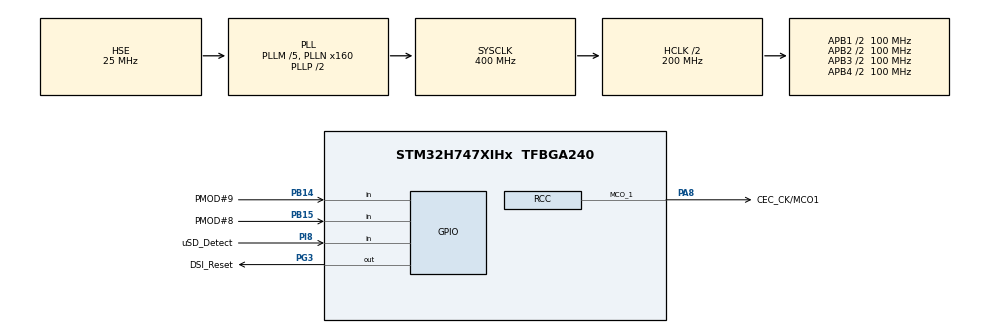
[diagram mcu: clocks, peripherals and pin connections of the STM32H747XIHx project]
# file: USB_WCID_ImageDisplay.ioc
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CortexM4.IPs=BDMA,DMA,FATFS_M4\:I,FREERTOS_M4\:I,IWDG2\:I,MDMA,NVIC2\:I,RCC,USB_DEVICE_M4\:I,USB_HOST_M4\:I,WWDG2\:I,TIM3\:I,DEBUG,PDM2PCM_M4\:I,PWR,RESMGR_UTILITY,SYS_M4\:I,CORTEX_M4\:I,OPENAMP_M4\:I,VREFBUF
CortexM7.IPs=BDMA\:I,DMA\:I,FATFS_M7\:I,FREERTOS_M7\:I,IWDG1\:I,MDMA\:I,NVIC1\:I,RCC\:I,USB_DEVICE_M7\:I,USB_HOST_M7\:I,WWDG1\:I,CORTEX_M7\:I,DEBUG\:I,PDM2PCM_M7\:I,PWR\:I,RESMGR_UTILITY\:I,SYS\:I,OPENAMP_M7\:I,VREFBUF\:I,FMC\:I
Mcu.Family=STM32H7
Mcu.Name=STM32H747XIHx
Mcu.Package=TFBGA240
Mcu.UserConstants=LCD_FRAME_BUFFER,0xD0000000
NVIC1.PriorityGroup=NVIC_PRIORITYGROUP_4
NVIC2.PriorityGroup=NVIC_PRIORITYGROUP_4
PA0_C.GPIO_Label=ARD_A2
PA0_C.PinAttribute=CortexM4
PA0_C.Signal=ADCx_INP0
PA1.PinAttribute=CortexM7
PA1.Signal=LTDC_R2
PA10.PinAttribute=CortexM7
PA10.Signal=USB_OTG_FS_ID
PA11.PinAttribute=CortexM7
PA11.Signal=USB_OTG_FS_DM
PA12.PinAttribute=CortexM7
PA12.Signal=USB_OTG_FS_DP
PA1_C.GPIO_Label=ARD_A3
PA1_C.PinAttribute=CortexM4
PA1_C.Signal=ADCx_INP1
PA3.GPIO_Label=ULPI_D0
PA3.PinAttribute=CortexM7
PA3.Signal=USB_OTG_HS_ULPI_D0
PA5.GPIO_Label=ULPI_CK
PA5.PinAttribute=CortexM7
PA5.Signal=USB_OTG_HS_ULPI_CK
PA7.GPIO_Label=ETH_CRS_DV
PA7.Signal=ETH_CRS_DV
PA8.GPIO_Label=CEC_CK/MCO1
PA8.Mode=Clock-out-1
PA8.PinAttribute=CortexM7
PA8.Signal=RCC_MCO_1
PB0.GPIO_Label=ULPI_D1
PB0.PinAttribute=CortexM7
PB0.Signal=USB_OTG_HS_ULPI_D1
PB1.GPIO_Label=ULPI_D2
PB1.PinAttribute=CortexM7
PB1.Signal=USB_OTG_HS_ULPI_D2
PB10.GPIO_Label=ULPI_D3
PB10.PinAttribute=CortexM7
PB10.Signal=USB_OTG_HS_ULPI_D3
PB11.GPIO_Label=ULPI_D4
PB11.PinAttribute=CortexM7
PB11.Signal=USB_OTG_HS_ULPI_D4
PB12.GPIO_Label=ULPI_D5
PB12.PinAttribute=CortexM7
PB12.Signal=USB_OTG_HS_ULPI_D5
PB13.GPIO_Label=ULPI_D6
PB13.PinAttribute=CortexM7
PB13.Signal=USB_OTG_HS_ULPI_D6
PB14.GPIO_Label=PMOD\#9
PB14.PinAttribute=Free
PB14.Signal=GPIO_Input
PB15.GPIO_Label=PMOD\#8
PB15.PinAttribute=Free
PB15.Signal=GPIO_Input
PB2.GPIO_Label=QSPI_CLK
PB2.Signal=QUADSPI_CLK
PB5.GPIO_Label=ULPI_D7
PB5.PinAttribute=CortexM7
PB5.Signal=USB_OTG_HS_ULPI_D7
PB6.GPIO_Label=HDMI_CEC
PB6.Signal=CEC
PC0.GPIO_Label=ULPI_STP
PC0.PinAttribute=CortexM7
PC0.Signal=USB_OTG_HS_ULPI_STP
PC1.GPIO_Label=ETH_MDC/SAI4_D1
PC1.Signal=ETH_MDC
PC10.GPIO_Label=SDIO1_D2
PC10.Signal=SDMMC1_D2
PC12.GPIO_Label=SDIO1_CK
PC12.Signal=SDMMC1_CK
PC13.GPIO_Label=B2 [Wakeup Button]
PC13.Signal=RTC_TAMP1
PC14-OSC32_IN\ (OSC32_IN).GPIO_Label=OSC32_IN
PC14-OSC32_IN\ (OSC32_IN).PinAttribute=CortexM7
PC14-OSC32_IN\ (OSC32_IN).Signal=RCC_OSC32_IN
PC15-OSC32_OUT\ (OSC32_OUT).GPIO_Label=OSC32_OUT
PC15-OSC32_OUT\ (OSC32_OUT).PinAttribute=CortexM7
PC15-OSC32_OUT\ (OSC32_OUT).Signal=RCC_OSC32_OUT
PC2.GPIO_Label=PMOD\#3
PC2.Signal=SPI2_MISO
PC2_C.GPIO_Label=ARD_A4
PC2_C.Signal=ADC3_INP0
PC3.GPIO_Label=PMOD\#2
PC3.Signal=SPI2_MOSI
PC3_C.GPIO_Label=ARD_A5
PC3_C.Signal=ADC3_INP1
PC4.GPIO_Label=ETH_RXD0
PC4.Signal=ETH_RXD0
PC5.GPIO_Label=ETH_RXD1
PC5.Signal=ETH_RXD1
PC8.GPIO_Label=SDIO1_D0
PC8.Signal=SDMMC1_D0
PD0.GPIO_Label=FMC_D2
PD0.PinAttribute=CortexM7
PD0.Signal=FMC_D2_DA2
PD1.GPIO_Label=FMC_D3
PD1.PinAttribute=CortexM7
PD1.Signal=FMC_D3_DA3
PD10.GPIO_Label=FMC_D15
PD10.PinAttribute=CortexM7
PD10.Signal=FMC_D15_DA15
PD11.GPIO_Label=QSPI_BK1_IO0
PD11.Signal=QUADSPI_BK1_IO0
PD14.GPIO_Label=FMC_D0
PD14.PinAttribute=CortexM7
PD14.Signal=FMC_D0_DA0
PD15.GPIO_Label=FMC_D1
PD15.PinAttribute=CortexM7
PD15.Signal=FMC_D1_DA1
PD2.GPIO_Label=SDIO1_CMD
PD2.Signal=SDMMC1_CMD
PD7.GPIO_Label=SPDIF_RX0
PD7.Signal=SPDIFRX1_IN0
PD8.GPIO_Label=FMC_D13
PD8.PinAttribute=CortexM7
PD8.Signal=FMC_D13_DA13
PD9.GPIO_Label=FMC_D14
PD9.PinAttribute=CortexM7
PD9.Signal=FMC_D14_DA14
PE0.GPIO_Label=FMC_NBL0
PE0.PinAttribute=CortexM7
PE0.Signal=FMC_NBL0
PE1.GPIO_Label=FMC_NBL1
PE1.PinAttribute=CortexM7
PE1.Signal=FMC_NBL1
PE10.GPIO_Label=FMC_D7
PE10.PinAttribute=CortexM7
PE10.Signal=FMC_D7_DA7
PE11.PinAttribute=CortexM7
PE11.Signal=LTDC_G3
PE13.GPIO_Label=FMC_D10
PE13.PinAttribute=CortexM7
PE13.Signal=FMC_D10_DA10
PE14.GPIO_Label=FMC_D11
PE14.PinAttribute=CortexM7
PE14.Signal=FMC_D11_DA11
PE15.GPIO_Label=FMC_D12
PE15.PinAttribute=CortexM7
PE15.Signal=FMC_D12_DA12
PE3.GPIO_Label=SAI1_SD_B
PE3.Signal=SAI1_SD_B
PE4.GPIO_Label=SAI1_FS_A
PE4.Signal=SAI1_FS_A
PE5.GPIO_Label=SAI1_SCK_A
PE5.Signal=SAI1_SCK_A
PE6.PinAttribute=CortexM7
PE6.Signal=LTDC_G1
PE7.GPIO_Label=FMC_D4
PE7.PinAttribute=CortexM7
PE7.Signal=FMC_D4_DA4
PE8.GPIO_Label=FMC_D5
PE8.PinAttribute=CortexM7
PE8.Signal=FMC_D5_DA5
PE9.GPIO_Label=FMC_D6
PE9.PinAttribute=CortexM7
PE9.Signal=FMC_D6_DA6
PF0.GPIO_Label=FMC_A0
PF0.PinAttribute=CortexM7
PF0.Signal=FMC_A0
PF1.GPIO_Label=FMC_A1
PF1.PinAttribute=CortexM7
PF1.Signal=FMC_A1
PF10.PinAttribute=CortexM7
PF10.Signal=LTDC_DE
PF11.GPIO_Label=FMC_SDRAS
PF11.PinAttribute=CortexM7
PF11.Signal=FMC_SDNRAS
PF12.GPIO_Label=FMC_A6
PF12.PinAttribute=CortexM7
PF12.Signal=FMC_A6
PF13.GPIO_Label=FMC_A7
PF13.PinAttribute=CortexM7
PF13.Signal=FMC_A7
PF14.GPIO_Label=FMC_A8
PF14.PinAttribute=CortexM7
PF14.Signal=FMC_A8
PF15.GPIO_Label=FMC_A9
PF15.PinAttribute=CortexM7
PF15.Signal=FMC_A9
PF2.GPIO_Label=FMC_A2
PF2.PinAttribute=CortexM7
PF2.Signal=FMC_A2
PF3.GPIO_Label=FMC_A3
PF3.PinAttribute=CortexM7
PF3.Signal=FMC_A3
PF4.GPIO_Label=FMC_A4
PF4.PinAttribute=CortexM7
PF4.Signal=FMC_A4
PF5.GPIO_Label=FMC_A5
PF5.PinAttribute=CortexM7
PF5.Signal=FMC_A5
PF6.GPIO_Label=QSPI_BK1_IO3
PF6.Signal=QUADSPI_BK1_IO3
PF7.GPIO_Label=QSPI_BK1_IO2
PF7.Signal=QUADSPI_BK1_IO2
PF8.GPIO_Label=PMOD\#14/ARD_D3
PF8.Signal=S_TIM13_CH1
PF9.GPIO_Label=QSPI_BK1_IO1
PF9.Signal=QUADSPI_BK1_IO1
PG0.GPIO_Label=FMC_A10
PG0.PinAttribute=CortexM7
PG0.Signal=FMC_A10
PG1.GPIO_Label=FMC_A11
PG1.PinAttribute=CortexM7
PG1.Signal=FMC_A11
PG11.GPIO_Label=ETH_TX_EN
PG11.Signal=ETH_TX_EN
PG12.GPIO_Label=ETH_TXD1
PG12.Signal=ETH_TXD1
PG13.GPIO_Label=ETH_TXD0
PG13.Signal=ETH_TXD0
PG14.GPIO_Label=QSPI_BK2_IO3
PG14.Signal=QUADSPI_BK2_IO3
PG15.GPIO_Label=FMC_SDCAS
PG15.PinAttribute=CortexM7
PG15.Signal=FMC_SDNCAS
PG2.GPIO_Label=FMC_A12
PG2.PinAttribute=CortexM7
PG2.Signal=FMC_A12
PG3.GPIO_Label=DSI_Reset
PG3.PinAttribute=Free
PG3.Signal=GPIO_Output
PG4.GPIO_Label=FMC_BA0
PG4.PinAttribute=CortexM7
PG4.Signal=FMC_A14_BA0
PG7.GPIO_Label=SAI1_MCLK_A
PG7.Signal=SAI1_MCLK_A
PG8.GPIO_Label=FMC_SDCLK
PG8.PinAttribute=CortexM7
PG8.Signal=FMC_SDCLK
PG9.GPIO_Label=QSPI_BK2_IO2
PG9.Signal=QUADSPI_BK2_IO2
PH0-OSC_IN\ (PH0).GPIO_Label=OSC_IN
PH0-OSC_IN\ (PH0).Mode=HSE-External-Oscillator
PH0-OSC_IN\ (PH0).PinAttribute=CortexM7
PH0-OSC_IN\ (PH0).Signal=RCC_OSC_IN
PH1-OSC_OUT\ (PH1).GPIO_Label=OSC_OUT
PH1-OSC_OUT\ (PH1).Mode=HSE-External-Oscillator
PH1-OSC_OUT\ (PH1).PinAttribute=CortexM7
PH1-OSC_OUT\ (PH1).Signal=RCC_OSC_OUT
PH10.GPIO_Label=FMC_D18
PH10.PinAttribute=CortexM7
PH10.Signal=FMC_D18
PH11.Signal=I2C4_SCL
PH13.GPIO_Label=FMC_D21
PH13.PinAttribute=CortexM7
PH13.Signal=FMC_D21
PH14.GPIO_Label=FMC_D22
PH14.PinAttribute=CortexM7
PH14.Signal=FMC_D22
PH15.PinAttribute=CortexM7
PH15.Signal=LTDC_G4
PH2.PinAttribute=CortexM7
PH2.Signal=LTDC_R0
PH3.PinAttribute=CortexM7
PH3.Signal=LTDC_R1
PH4.GPIO_Label=ULPI_NXT
PH4.PinAttribute=CortexM7
PH4.Signal=USB_OTG_HS_ULPI_NXT
PH5.GPIO_Label=FMC_SDNWE
PH5.PinAttribute=CortexM7
PH5.Signal=FMC_SDNWE
PH6.GPIO_Label=FMC_SDNE1
PH6.PinAttribute=CortexM7
PH6.Signal=FMC_SDNE1
PH7.GPIO_Label=FMC_SDCKE1
PH7.PinAttribute=CortexM7
PH7.Signal=FMC_SDCKE1
PH8.GPIO_Label=FMC_D16
PH8.PinAttribute=CortexM7
PH8.Signal=FMC_D16
PH9.GPIO_Label=FMC_D17
PH9.PinAttribute=CortexM7
PH9.Signal=FMC_D17
PI0.GPIO_Label=FMC_D24
PI0.PinAttribute=CortexM7
PI0.Signal=FMC_D24
PI1.GPIO_Label=FMC_D25
PI1.PinAttribute=CortexM7
PI1.Signal=FMC_D25
PI10.PinAttribute=CortexM7
PI10.Signal=LTDC_HSYNC
PI11.GPIO_Label=ULPI_DIR
PI11.PinAttribute=CortexM7
PI11.Signal=USB_OTG_HS_ULPI_DIR
PI13.PinAttribute=CortexM7
PI13.Signal=LTDC_VSYNC
PI14.PinAttribute=CortexM7
PI14.Signal=LTDC_CLK
PI2.PinAttribute=CortexM7
PI2.Signal=LTDC_G7
PI3.GPIO_Label=FMC_D27
PI3.PinAttribute=CortexM7
PI3.Signal=FMC_D27
PI4.GPIO_Label=FMC_NBL2
PI4.PinAttribute=CortexM7
PI4.Signal=FMC_NBL2
PI5.GPIO_Label=FMC_NBL3
PI5.PinAttribute=CortexM7
PI5.Signal=FMC_NBL3
PI6.GPIO_Label=FMC_D28
PI6.PinAttribute=CortexM7
PI6.Signal=FMC_D28
PI7.PinAttribute=CortexM7
PI7.Signal=LTDC_B7
PI8.GPIO_Label=uSD_Detect
PI8.PinAttribute=Free
PI8.Signal=GPIO_Input
PI9.GPIO_Label=FMC_D30
PI9.PinAttribute=CortexM7
PI9.Signal=FMC_D30
PJ10.GPIO_Label=ARD_D11
PJ10.Signal=SPI5_MOSI
PJ13.PinAttribute=CortexM7
PJ13.Signal=LTDC_B4
PJ15.PinAttribute=CortexM7
PJ15.Signal=LTDC_B3
PJ3.PinAttribute=CortexM7
PJ3.Signal=LTDC_R4
PJ5.PinAttribute=CortexM7
PJ5.Signal=LTDC_R6
PJ6.PinAttribute=CortexM7
PJ6.Signal=LTDC_R7
PJ7.PinAttribute=CortexM7
PJ7.Signal=LTDC_G0
PJ8.GPIO_Label=ARD_D1
PJ8.Signal=UART8_TX
PJ9.PinAttribute=CortexM7
PJ9.Signal=LTDC_G2
PK0.PinAttribute=CortexM7
PK0.Signal=LTDC_G5
PK1.GPIO_Label=ARD_D10
PK1.Signal=SPI5_NSS
PK4.PinAttribute=CortexM7
PK4.Signal=LTDC_B5
PK5.PinAttribute=CortexM7
PK5.Signal=LTDC_B6
ProjectManager.HeapSize=0x8000
ProjectManager.StackSize=0x400
ProjectManager.TargetToolchain=STM32CubeIDE
RCC.ADCFreq_Value=154687500
RCC.APB1Freq_Value=100000000
RCC.APB2Freq_Value=100000000
RCC.APB3Freq_Value=100000000
RCC.APB4Freq_Value=100000000
RCC.CortexFreq_Value=400000000
RCC.D1PPRE=RCC_APB3_DIV2
RCC.D2PPRE1=RCC_APB1_DIV2
RCC.D2PPRE2=RCC_APB2_DIV2
RCC.D3PPRE=RCC_APB4_DIV2
RCC.DIVM1=5
RCC.DIVM2=2
RCC.DIVN1=160
RCC.DIVN2=12
RCC.DIVP2=1
RCC.DIVQ1=4
RCC.DSITX_Div=2
RCC.HCLKFreq_Value=200000000
RCC.HPRE=RCC_HCLK_DIV2
RCC.PLL2FRACN=3072
RCC.PLL3FRACN=0
RCC.PLLDSINDIV=10
RCC.PLLFRACN=0
RCC.PLLSourceVirtual=RCC_PLLSOURCE_HSE
RCC.PWR_Regulator_Voltage_Scale=PWR_REGULATOR_VOLTAGE_SCALE0
RCC.SYSCLKFreq_VALUE=400000000
RCC.SYSCLKSource=RCC_SYSCLKSOURCE_PLLCLK
RCC.SupplySource=PWR_DIRECT_SMPS_SUPPLY
RCC.USBFreq_Value=200000000
SH.ADCx_INP0.0=ADC1_INP0
SH.ADCx_INP1.0=ADC1_INP1
SH.FMC_A0.0=FMC_A0
SH.FMC_A1.0=FMC_A1
SH.FMC_A10.0=FMC_A10
SH.FMC_A11.0=FMC_A11
SH.FMC_A12.0=FMC_A12
SH.FMC_A14_BA0.0=FMC_BA0
SH.FMC_A2.0=FMC_A2
SH.FMC_A3.0=FMC_A3
SH.FMC_A4.0=FMC_A4
SH.FMC_A5.0=FMC_A5
SH.FMC_A6.0=FMC_A6
SH.FMC_A7.0=FMC_A7
SH.FMC_A8.0=FMC_A8
SH.FMC_A9.0=FMC_A9
SH.FMC_D0_DA0.0=FMC_D0
SH.FMC_D10_DA10.0=FMC_D10
SH.FMC_D11_DA11.0=FMC_D11
SH.FMC_D12_DA12.0=FMC_D12
SH.FMC_D13_DA13.0=FMC_D13
SH.FMC_D14_DA14.0=FMC_D14
SH.FMC_D15_DA15.0=FMC_D15
SH.FMC_D16.0=FMC_D16
SH.FMC_D17.0=FMC_D17
SH.FMC_D18.0=FMC_D18
SH.FMC_D1_DA1.0=FMC_D1
SH.FMC_D21.0=FMC_D21
SH.FMC_D22.0=FMC_D22
SH.FMC_D24.0=FMC_D24
SH.FMC_D25.0=FMC_D25
SH.FMC_D27.0=FMC_D27
SH.FMC_D28.0=FMC_D28
SH.FMC_D2_DA2.0=FMC_D2
SH.FMC_D30.0=FMC_D30
SH.FMC_D3_DA3.0=FMC_D3
SH.FMC_D4_DA4.0=FMC_D4
SH.FMC_D5_DA5.0=FMC_D5
SH.FMC_D6_DA6.0=FMC_D6
SH.FMC_D7_DA7.0=FMC_D7
SH.FMC_NBL0.0=FMC_NBL0
SH.FMC_NBL1.0=FMC_NBL1
SH.FMC_NBL2.0=FMC_NBL2
SH.FMC_NBL3.0=FMC_NBL3
SH.FMC_SDCLK.0=FMC_SDCLK
SH.FMC_SDNCAS.0=FMC_SDNCAS
SH.FMC_SDNRAS.0=FMC_SDNRAS
SH.FMC_SDNWE.0=FMC_SDNWE
SH.S_TIM13_CH1.0=TIM13_CH1
VP_SYS_M4_VS_Systick.Mode=SysTick
board=STM32H747I-DISCO

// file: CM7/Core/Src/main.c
/* USER CODE BEGIN Header */
/**
  ******************************************************************************
  * @file           : main.c
  * @brief          : Main program body
  ******************************************************************************
  * @attention
  *
  * Copyright (c) 2020-2021 STMicroelectronics.
  * All rights reserved.
  * This software is licensed under terms that can be found in the LICENSE file in
  * the root directory of this software component.
  * If no LICENSE file comes with this software, it is provided AS-IS.
  *
  ******************************************************************************
  */

/* USER CODE END Header */
#include "main.h"

/* USER CODE BEGIN Includes */
#include "ai_logging.h"
#include "usbd_wcid_interface.h"
#include "usbd_desc.h"

#include "stm32h747i_discovery.h"
#include "stm32h747i_discovery_lcd.h"
#include "stm32h747i_discovery_sdram.h"
#include "stm32h747i_discovery_bus.h"

#include "stm32_lcd.h"
/* USER CODE END Includes */

/* USER CODE BEGIN PD */

#define VSYNC               1
#define VBP                 1
#define VFP                 1
#define VACT                480
#define HSYNC               1
#define HBP                 1
#define HFP                 1
#define HACT                800

#define LAYER0_ADDRESS               (LCD_FB_START_ADDRESS)
#define SEND_BUFFER_SIZE 64
#define RECEPTION_BUFFER_SIZE 90000
/* USER CODE END PD */

/* USER CODE BEGIN PV */
static int32_t pending_buffer = -1;
static DMA2D_HandleTypeDef   hdma2d;
static RCC_PeriphCLKInitTypeDef  PeriphClkInitStruct;
DSI_PLLInitTypeDef dsiPllInit;
DSI_CmdCfgTypeDef CmdCfg;
DSI_LPCmdTypeDef LPCmd;

static uint8_t send_buffer[SEND_BUFFER_SIZE];
static uint8_t reception_buffer[RECEPTION_BUFFER_SIZE];
extern volatile uint8_t usb_connected;
extern volatile uint8_t streaming_started;
//USBD_HandleTypeDef USBD_Device; //// NOT COPIED YET (MUST BE CUBEMX GENERATED)
USBD_HandleTypeDef hUsbDeviceHS;

ai_logging_device_t device;
/* USER CODE END PV */

void SystemClock_Config(void);
static void MX_GPIO_Init(void);
/* USER CODE BEGIN PFP */

static void CopyBufferFromRGB888(uint32_t *pSrc,
                           uint32_t *pDst,
                           uint16_t x,
                           uint16_t y,
                           uint16_t xsize,
                           uint16_t ysize,
                           uint8_t rb_swaped);
static uint8_t LCD_Init(void);
void LTDC_Init(void);

static void LCD_LayertInit(uint16_t LayerIndex, uint32_t Address);
static int32_t DSI_IO_Write(uint16_t ChannelNbr, uint16_t Reg, uint8_t *pData, uint16_t Size);
static int32_t DSI_IO_Read(uint16_t ChannelNbr, uint16_t Reg, uint8_t *pData, uint16_t Size);
int32_t LCD_GetXSize(uint32_t Instance, uint32_t *XSize);
int32_t LCD_GetYSize(uint32_t Instance, uint32_t *YSize);
void LCD_MspInit(void);

static void LCD_BriefDisplay(void);

const LCD_UTILS_Drv_t LCD_UTIL_Driver =
{
  BSP_LCD_DrawBitmap,
  BSP_LCD_FillRGBRect,
  BSP_LCD_DrawHLine,
  BSP_LCD_DrawVLine,
  BSP_LCD_FillRect,
  BSP_LCD_ReadPixel,
  BSP_LCD_WritePixel,
  LCD_GetXSize,
  LCD_GetYSize,
  BSP_LCD_SetActiveLayer,
  BSP_LCD_GetPixelFormat
};

/* USER CODE END PFP */

int main(void)
{
  /* USER CODE BEGIN 1 */
  /*
    IF Regenerating Code with CubeMX don't forget to manually enable the modules
    in stm32h7xx_hal_conf.h:

    #define HAL_DSI_MODULE_ENABLED
    #define HAL_PCD_MODULE_ENABLED
    #define HAL_LTDC_MODULE_ENABLED
    #define HAL_SDRAM_MODULE_ENABLED
    #define HAL_DMA2D_MODULE_ENABLED

    AND Copy necessary missing files (if any) if linker errors
  */
  /* USER CODE END 1 */
/* USER CODE BEGIN Boot_Mode_Sequence_0 */
/* USER CODE END Boot_Mode_Sequence_0 */

/* USER CODE BEGIN Boot_Mode_Sequence_1 */
/* USER CODE END Boot_Mode_Sequence_1 */
  /* MCU Configuration--------------------------------------------------------*/

  /* Reset of all peripherals, Initializes the Flash interface and the Systick. */
  HAL_Init();

  /* Configure the system clock */
  SystemClock_Config();
/* USER CODE BEGIN Boot_Mode_Sequence_2 */
/* USER CODE END Boot_Mode_Sequence_2 */

  /* Initialize all configured peripherals */
  MX_GPIO_Init();
  /* USER CODE BEGIN 2 */

  BSP_SDRAM_Init(0);

  HAL_PWREx_EnableUSBVoltageDetector();

  /* Init Device Library for USB WCID */
  USBD_Init(&hUsbDeviceHS, &WCID_STREAMING_Desc, 0);
  /* Add Supported Class */
  USBD_RegisterClass(&hUsbDeviceHS, USBD_WCID_STREAMING_CLASS);
  /* Add CDC Interface Class */
  USBD_WCID_STREAMING_RegisterInterface(&hUsbDeviceHS, &USBD_WCID_STREAMING_fops);
  /* Start Device Process */
  USBD_Start(&hUsbDeviceHS);

  /* Initialize the LCD   */
  if(LCD_Init() != BSP_ERROR_NONE)
  {
    Error_Handler();
  }
  /* Set the LCD Context */
  Lcd_Ctx[0].ActiveLayer = 0;
  Lcd_Ctx[0].PixelFormat = LCD_PIXEL_FORMAT_ARGB8888;
  Lcd_Ctx[0].BppFactor = 4; /* 4 Bytes Per Pixel for ARGB8888 */
  Lcd_Ctx[0].XSize = 800;
  Lcd_Ctx[0].YSize = 480;
  /* Disable DSI Wrapper in order to access and configure the LTDC */
  __HAL_DSI_WRAPPER_DISABLE(&hlcd_dsi);

  /* Initialize LTDC layer 0 iused for Hint */
  LCD_LayertInit(0, LCD_FRAME_BUFFER);
  UTIL_LCD_SetFuncDriver(&LCD_UTIL_Driver);

  /* Enable DSI Wrapper so DSI IP will drive the LTDC */
  __HAL_DSI_WRAPPER_ENABLE(&hlcd_dsi);

  /* Display example brief   */
  LCD_BriefDisplay();

  /*Refresh the LCD display*/
  HAL_DSI_Refresh(&hlcd_dsi);

  ai_logging_init(&device);
  ai_logging_init_send(&device, usb_wcid_send_function, send_buffer, SEND_BUFFER_SIZE);
  ai_logging_init_receive(&device, NULL, 0, reception_buffer, RECEPTION_BUFFER_SIZE);

  /* USER CODE END 2 */

  /* Infinite loop */
  /* USER CODE BEGIN WHILE */

  while(usb_connected < 1);

  ai_logging_packet_t packet;
  ai_logging_clear_packet(&packet);
  int img_received = 0;
  start_streaming();
  char text_to_send[20];
  ai_logging_message message;

  while (1)
  {
    if(streaming_started == 1)
    {
      if(ai_logging_check_for_received_packet(&device, &packet) > 0)
      {
        if(pending_buffer < 0)
        {
          CopyBufferFromRGB888((uint32_t *)packet.payload, (uint32_t *)LCD_FRAME_BUFFER, 0, 160, packet.shape.shapes[0], packet.shape.shapes[1], 0);
          pending_buffer = 0;
          sprintf(text_to_send, "Img received %d", img_received);
          message.buffer = text_to_send;
          message.size = strlen(text_to_send);
          ai_logging_send_message(&device, message);
          /*Refresh the LCD display*/
          HAL_DSI_Refresh(&hlcd_dsi);
        }
        ai_logging_prepare_next_packet(&device);
        img_received++;
      }
    }

    /* USER CODE END WHILE */

  }
}

void SystemClock_Config(void)
{
  RCC_OscInitTypeDef RCC_OscInitStruct = {0};
  RCC_ClkInitTypeDef RCC_ClkInitStruct = {0};

  /** Supply configuration update enable
  */
  HAL_PWREx_ConfigSupply(PWR_DIRECT_SMPS_SUPPLY);
  /** Configure the main internal regulator output voltage
  */
  __HAL_PWR_VOLTAGESCALING_CONFIG(PWR_REGULATOR_VOLTAGE_SCALE0);

  while(!__HAL_PWR_GET_FLAG(PWR_FLAG_VOSRDY)) {}
  /** Initializes the RCC Oscillators according to the specified parameters
  * in the RCC_OscInitTypeDef structure.
  */
  RCC_OscInitStruct.OscillatorType = RCC_OSCILLATORTYPE_HSI|RCC_OSCILLATORTYPE_HSE;
  RCC_OscInitStruct.HSEState = RCC_HSE_ON;
  RCC_OscInitStruct.HSIState = RCC_HSI_DIV1;
  RCC_OscInitStruct.HSICalibrationValue = RCC_HSICALIBRATION_DEFAULT;
  RCC_OscInitStruct.PLL.PLLState = RCC_PLL_ON;
  RCC_OscInitStruct.PLL.PLLSource = RCC_PLLSOURCE_HSE;
  RCC_OscInitStruct.PLL.PLLM = 5;
  RCC_OscInitStruct.PLL.PLLN = 160;
  RCC_OscInitStruct.PLL.PLLP = 2;
  RCC_OscInitStruct.PLL.PLLQ = 4;
  RCC_OscInitStruct.PLL.PLLR = 2;
  RCC_OscInitStruct.PLL.PLLRGE = RCC_PLL1VCIRANGE_2;
  RCC_OscInitStruct.PLL.PLLVCOSEL = RCC_PLL1VCOWIDE;
  RCC_OscInitStruct.PLL.PLLFRACN = 0;
  if (HAL_RCC_OscConfig(&RCC_OscInitStruct) != HAL_OK)
  {
    Error_Handler();
  }
  /** Initializes the CPU, AHB and APB buses clocks
  */
  RCC_ClkInitStruct.ClockType = RCC_CLOCKTYPE_HCLK|RCC_CLOCKTYPE_SYSCLK
                              |RCC_CLOCKTYPE_PCLK1|RCC_CLOCKTYPE_PCLK2
                              |RCC_CLOCKTYPE_D3PCLK1|RCC_CLOCKTYPE_D1PCLK1;
  RCC_ClkInitStruct.SYSCLKSource = RCC_SYSCLKSOURCE_PLLCLK;
  RCC_ClkInitStruct.SYSCLKDivider = RCC_SYSCLK_DIV1;
  RCC_ClkInitStruct.AHBCLKDivider = RCC_HCLK_DIV2;
  RCC_ClkInitStruct.APB3CLKDivider = RCC_APB3_DIV2;
  RCC_ClkInitStruct.APB1CLKDivider = RCC_APB1_DIV2;
  RCC_ClkInitStruct.APB2CLKDivider = RCC_APB2_DIV2;
  RCC_ClkInitStruct.APB4CLKDivider = RCC_APB4_DIV2;

  if (HAL_RCC_ClockConfig(&RCC_ClkInitStruct, FLASH_LATENCY_2) != HAL_OK)
  {
    Error_Handler();
  }
  HAL_RCC_MCOConfig(RCC_MCO1, RCC_MCO1SOURCE_HSI, RCC_MCODIV_1);
}

static void MX_GPIO_Init(void)
{
  GPIO_InitTypeDef GPIO_InitStruct = {0};

  /* GPIO Ports Clock Enable */
  __HAL_RCC_GPIOI_CLK_ENABLE();
  __HAL_RCC_GPIOE_CLK_ENABLE();
  __HAL_RCC_GPIOH_CLK_ENABLE();
  __HAL_RCC_GPIOC_CLK_ENABLE();
  __HAL_RCC_GPIOG_CLK_ENABLE();
  __HAL_RCC_GPIOD_CLK_ENABLE();
  __HAL_RCC_GPIOA_CLK_ENABLE();
  __HAL_RCC_GPIOF_CLK_ENABLE();

  /*Configure GPIO pins : PI6 PI5 PI4 PI1
                           PI0 PI3 PI9 */
  GPIO_InitStruct.Pin = GPIO_PIN_6|GPIO_PIN_5|GPIO_PIN_4|GPIO_PIN_1
                          |GPIO_PIN_0|GPIO_PIN_3|GPIO_PIN_9;
  GPIO_InitStruct.Mode = GPIO_MODE_AF_PP;
  GPIO_InitStruct.Pull = GPIO_NOPULL;
  GPIO_InitStruct.Speed = GPIO_SPEED_FREQ_VERY_HIGH;
  GPIO_InitStruct.Alternate = GPIO_AF12_FMC;
  HAL_GPIO_Init(GPIOI, &GPIO_InitStruct);

  /*Configure GPIO pins : PE1 PE0 PE10 PE9
                           PE15 PE8 PE13 PE7
                           PE14 */
  GPIO_InitStruct.Pin = GPIO_PIN_1|GPIO_PIN_0|GPIO_PIN_10|GPIO_PIN_9
                          |GPIO_PIN_15|GPIO_PIN_8|GPIO_PIN_13|GPIO_PIN_7
                          |GPIO_PIN_14;
  GPIO_InitStruct.Mode = GPIO_MODE_AF_PP;
  GPIO_InitStruct.Pull = GPIO_NOPULL;
  GPIO_InitStruct.Speed = GPIO_SPEED_FREQ_VERY_HIGH;
  GPIO_InitStruct.Alternate = GPIO_AF12_FMC;
  HAL_GPIO_Init(GPIOE, &GPIO_InitStruct);

  /*Configure GPIO pins : PH14 PH13 PH5 PH10
                           PH9 PH6 PH8 PH7 */
  GPIO_InitStruct.Pin = GPIO_PIN_14|GPIO_PIN_13|GPIO_PIN_5|GPIO_PIN_10
                          |GPIO_PIN_9|GPIO_PIN_6|GPIO_PIN_8|GPIO_PIN_7;
  GPIO_InitStruct.Mode = GPIO_MODE_AF_PP;
  GPIO_InitStruct.Pull = GPIO_NOPULL;
  GPIO_InitStruct.Speed = GPIO_SPEED_FREQ_VERY_HIGH;
  GPIO_InitStruct.Alternate = GPIO_AF12_FMC;
  HAL_GPIO_Init(GPIOH, &GPIO_InitStruct);

  /*Configure GPIO pins : PG15 PG8 PG4 PG2
                           PG0 PG1 */
  GPIO_InitStruct.Pin = GPIO_PIN_15|GPIO_PIN_8|GPIO_PIN_4|GPIO_PIN_2
                          |GPIO_PIN_0|GPIO_PIN_1;
  GPIO_InitStruct.Mode = GPIO_MODE_AF_PP;
  GPIO_InitStruct.Pull = GPIO_NOPULL;
  GPIO_InitStruct.Speed = GPIO_SPEED_FREQ_VERY_HIGH;
  GPIO_InitStruct.Alternate = GPIO_AF12_FMC;
  HAL_GPIO_Init(GPIOG, &GPIO_InitStruct);

  /*Configure GPIO pins : PD0 PD1 PD15 PD14
                           PD10 PD9 PD8 */
  GPIO_InitStruct.Pin = GPIO_PIN_0|GPIO_PIN_1|GPIO_PIN_15|GPIO_PIN_14
                          |GPIO_PIN_10|GPIO_PIN_9|GPIO_PIN_8;
  GPIO_InitStruct.Mode = GPIO_MODE_AF_PP;
  GPIO_InitStruct.Pull = GPIO_NOPULL;
  GPIO_InitStruct.Speed = GPIO_SPEED_FREQ_VERY_HIGH;
  GPIO_InitStruct.Alternate = GPIO_AF12_FMC;
  HAL_GPIO_Init(GPIOD, &GPIO_InitStruct);

  /*Configure GPIO pin : CEC_CK_MCO1_Pin */
  GPIO_InitStruct.Pin = CEC_CK_MCO1_Pin;
  GPIO_InitStruct.Mode = GPIO_MODE_AF_PP;
  GPIO_InitStruct.Pull = GPIO_NOPULL;
  GPIO_InitStruct.Speed = GPIO_SPEED_FREQ_LOW;
  GPIO_InitStruct.Alternate = GPIO_AF0_MCO;
  HAL_GPIO_Init(CEC_CK_MCO1_GPIO_Port, &GPIO_InitStruct);

  /*Configure GPIO pins : PF2 PF1 PF0 PF3
                           PF5 PF4 PF13 PF14
                           PF12 PF15 PF11 */
  GPIO_InitStruct.Pin = GPIO_PIN_2|GPIO_PIN_1|GPIO_PIN_0|GPIO_PIN_3
                          |GPIO_PIN_5|GPIO_PIN_4|GPIO_PIN_13|GPIO_PIN_14
                          |GPIO_PIN_12|GPIO_PIN_15|GPIO_PIN_11;
  GPIO_InitStruct.Mode = GPIO_MODE_AF_PP;
  GPIO_InitStruct.Pull = GPIO_NOPULL;
  GPIO_InitStruct.Speed = GPIO_SPEED_FREQ_VERY_HIGH;
  GPIO_InitStruct.Alternate = GPIO_AF12_FMC;
  HAL_GPIO_Init(GPIOF, &GPIO_InitStruct);

}

/* USER CODE BEGIN 4 */

/**
  * @brief  Gets the LCD X size.
  * @param  Instance  LCD Instance
  * @param  XSize     LCD width
  * @retval BSP status
  */
int32_t LCD_GetXSize(uint32_t Instance, uint32_t *XSize)
{
  *XSize = Lcd_Ctx[0].XSize;

  return BSP_ERROR_NONE;
}

/**
  * @brief  Gets the LCD Y size.
  * @param  Instance  LCD Instance
  * @param  YSize     LCD Height
  * @retval BSP status
  */
int32_t LCD_GetYSize(uint32_t Instance, uint32_t *YSize)
{
  *YSize = Lcd_Ctx[0].YSize;

  return BSP_ERROR_NONE;
}
/**
  * @brief  End of Refresh DSI callback.
  * @param  hdsi: pointer to a DSI_HandleTypeDef structure that contains
  *               the configuration information for the DSI.
  * @retval None
  */
void HAL_DSI_EndOfRefreshCallback(DSI_HandleTypeDef *hdsi)
{
  if(pending_buffer >= 0)
  {
    pending_buffer = -1;
  }
}

/**
  * @brief  Initializes the DSI LCD.
  * The ititialization is done as below:
  *     - DSI PLL ititialization
  *     - DSI ititialization
  *     - LTDC ititialization
  *     - OTM8009A LCD Display IC Driver ititialization
  * @param  None
  * @retval LCD state
  */
static uint8_t LCD_Init(void)
{
  DSI_PHY_TimerTypeDef  PhyTimings;
  OTM8009A_IO_t              IOCtx;
  static OTM8009A_Object_t   OTM8009AObj;
  static void                *Lcd_CompObj = NULL;

  /* Toggle Hardware Reset of the DSI LCD using
     its XRES signal (active low) */
  BSP_LCD_Reset(0);

  /* Call first MSP Initialize only in case of first initialization
  * This will set IP blocks LTDC, DSI and DMA2D
  * - out of reset
  * - clocked
  * - NVIC IRQ related to IP blocks enabled
  */
  LCD_MspInit();

  /* LCD clock configuration */
  /* LCD clock configuration */
  /* PLL3_VCO Input = HSE_VALUE/PLL3M = 5 Mhz */
  /* PLL3_VCO Output = PLL3_VCO Input * PLL3N = 800 Mhz */
  /* PLLLCDCLK = PLL3_VCO Output/PLL3R = 800/19 = 42 Mhz */
  /* LTDC clock frequency = PLLLCDCLK = 42 Mhz */
  PeriphClkInitStruct.PeriphClockSelection = RCC_PERIPHCLK_LTDC;
  PeriphClkInitStruct.PLL3.PLL3M = 5;
  PeriphClkInitStruct.PLL3.PLL3N = 160;
  PeriphClkInitStruct.PLL3.PLL3FRACN = 0;
  PeriphClkInitStruct.PLL3.PLL3P = 2;
  PeriphClkInitStruct.PLL3.PLL3Q = 2;
  PeriphClkInitStruct.PLL3.PLL3R = 19;
  PeriphClkInitStruct.PLL3.PLL3VCOSEL = RCC_PLL3VCOWIDE;
  PeriphClkInitStruct.PLL3.PLL3RGE = RCC_PLL3VCIRANGE_2;
  HAL_RCCEx_PeriphCLKConfig(&PeriphClkInitStruct);

  /* Base address of DSI Host/Wrapper registers to be set before calling De-Init */
  hlcd_dsi.Instance = DSI;

  HAL_DSI_DeInit(&(hlcd_dsi));

  dsiPllInit.PLLNDIV  = 100;
  dsiPllInit.PLLIDF   = DSI_PLL_IN_DIV5;
  dsiPllInit.PLLODF  = DSI_PLL_OUT_DIV1;

  hlcd_dsi.Init.NumberOfLanes = DSI_TWO_DATA_LANES;
  hlcd_dsi.Init.TXEscapeCkdiv = 0x4;

  HAL_DSI_Init(&(hlcd_dsi), &(dsiPllInit));

  /* Configure the DSI for Command mode */
  CmdCfg.VirtualChannelID      = 0;
  CmdCfg.HSPolarity            = DSI_HSYNC_ACTIVE_HIGH;
  CmdCfg.VSPolarity            = DSI_VSYNC_ACTIVE_HIGH;
  CmdCfg.DEPolarity            = DSI_DATA_ENABLE_ACTIVE_HIGH;
  CmdCfg.ColorCoding           = DSI_RGB888;
  CmdCfg.CommandSize           = HACT;
  CmdCfg.TearingEffectSource   = DSI_TE_DSILINK;
  CmdCfg.TearingEffectPolarity = DSI_TE_RISING_EDGE;
  CmdCfg.VSyncPol              = DSI_VSYNC_FALLING;
  CmdCfg.AutomaticRefresh      = DSI_AR_DISABLE;
  CmdCfg.TEAcknowledgeRequest  = DSI_TE_ACKNOWLEDGE_ENABLE;
  HAL_DSI_ConfigAdaptedCommandMode(&hlcd_dsi, &CmdCfg);

  LPCmd.LPGenShortWriteNoP    = DSI_LP_GSW0P_ENABLE;
  LPCmd.LPGenShortWriteOneP   = DSI_LP_GSW1P_ENABLE;
  LPCmd.LPGenShortWriteTwoP   = DSI_LP_GSW2P_ENABLE;
  LPCmd.LPGenShortReadNoP     = DSI_LP_GSR0P_ENABLE;
  LPCmd.LPGenShortReadOneP    = DSI_LP_GSR1P_ENABLE;
  LPCmd.LPGenShortReadTwoP    = DSI_LP_GSR2P_ENABLE;
  LPCmd.LPGenLongWrite        = DSI_LP_GLW_ENABLE;
  LPCmd.LPDcsShortWriteNoP    = DSI_LP_DSW0P_ENABLE;
  LPCmd.LPDcsShortWriteOneP   = DSI_LP_DSW1P_ENABLE;
  LPCmd.LPDcsShortReadNoP     = DSI_LP_DSR0P_ENABLE;
  LPCmd.LPDcsLongWrite        = DSI_LP_DLW_ENABLE;
  HAL_DSI_ConfigCommand(&hlcd_dsi, &LPCmd);

  /* Initialize LTDC */
  LTDC_Init();

  /* Start DSI */
  HAL_DSI_Start(&(hlcd_dsi));

  /* Configure DSI PHY HS2LP and LP2HS timings */
  PhyTimings.ClockLaneHS2LPTime = 35;
  PhyTimings.ClockLaneLP2HSTime = 35;
  PhyTimings.DataLaneHS2LPTime = 35;
  PhyTimings.DataLaneLP2HSTime = 35;
  PhyTimings.DataLaneMaxReadTime = 0;
  PhyTimings.StopWaitTime = 10;
  HAL_DSI_ConfigPhyTimer(&hlcd_dsi, &PhyTimings);

  /* Initialize the OTM8009A LCD Display IC Driver (KoD LCD IC Driver) */
  IOCtx.Address     = 0;
  IOCtx.GetTick     = BSP_GetTick;
  IOCtx.WriteReg    = DSI_IO_Write;
  IOCtx.ReadReg     = DSI_IO_Read;
  OTM8009A_RegisterBusIO(&OTM8009AObj, &IOCtx);
  Lcd_CompObj=(&OTM8009AObj);
  OTM8009A_Init(Lcd_CompObj, OTM8009A_COLMOD_RGB888, LCD_ORIENTATION_LANDSCAPE);

  LPCmd.LPGenShortWriteNoP    = DSI_LP_GSW0P_DISABLE;
  LPCmd.LPGenShortWriteOneP   = DSI_LP_GSW1P_DISABLE;
  LPCmd.LPGenShortWriteTwoP   = DSI_LP_GSW2P_DISABLE;
  LPCmd.LPGenShortReadNoP     = DSI_LP_GSR0P_DISABLE;
  LPCmd.LPGenShortReadOneP    = DSI_LP_GSR1P_DISABLE;
  LPCmd.LPGenShortReadTwoP    = DSI_LP_GSR2P_DISABLE;
  LPCmd.LPGenLongWrite        = DSI_LP_GLW_DISABLE;
  LPCmd.LPDcsShortWriteNoP    = DSI_LP_DSW0P_DISABLE;
  LPCmd.LPDcsShortWriteOneP   = DSI_LP_DSW1P_DISABLE;
  LPCmd.LPDcsShortReadNoP     = DSI_LP_DSR0P_DISABLE;
  LPCmd.LPDcsLongWrite        = DSI_LP_DLW_DISABLE;
  HAL_DSI_ConfigCommand(&hlcd_dsi, &LPCmd);

  HAL_DSI_ConfigFlowControl(&hlcd_dsi, DSI_FLOW_CONTROL_BTA);
  HAL_DSI_ForceRXLowPower(&hlcd_dsi, ENABLE);

  return BSP_ERROR_NONE;
}

/**
  * @brief
  * @param  None
  * @retval None
  */
void LTDC_Init(void)
{
  /* DeInit */
  HAL_LTDC_DeInit(&hlcd_ltdc);

  /* LTDC Config */
  /* Timing and polarity */
  hlcd_ltdc.Init.HorizontalSync = HSYNC;
  hlcd_ltdc.Init.VerticalSync = VSYNC;
  hlcd_ltdc.Init.AccumulatedHBP = HSYNC+HBP;
  hlcd_ltdc.Init.AccumulatedVBP = VSYNC+VBP;
  hlcd_ltdc.Init.AccumulatedActiveH = VSYNC+VBP+VACT;
  hlcd_ltdc.Init.AccumulatedActiveW = HSYNC+HBP+HACT;
  hlcd_ltdc.Init.TotalHeigh = VSYNC+VBP+VACT+VFP;
  hlcd_ltdc.Init.TotalWidth = HSYNC+HBP+HACT+HFP;

  /* background value */
  hlcd_ltdc.Init.Backcolor.Blue = 0;
  hlcd_ltdc.Init.Backcolor.Green = 0;
  hlcd_ltdc.Init.Backcolor.Red = 0;

  /* Polarity */
  hlcd_ltdc.Init.HSPolarity = LTDC_HSPOLARITY_AL;
  hlcd_ltdc.Init.VSPolarity = LTDC_VSPOLARITY_AL;
  hlcd_ltdc.Init.DEPolarity = LTDC_DEPOLARITY_AL;
  hlcd_ltdc.Init.PCPolarity = LTDC_PCPOLARITY_IPC;
  hlcd_ltdc.Instance = LTDC;

  HAL_LTDC_Init(&hlcd_ltdc);
}

/**
  * @brief  Initializes the LCD layers.
  * @param  LayerIndex: Layer foreground or background
  * @param  FB_Address: Layer frame buffer
  * @retval None
  */
static void LCD_LayertInit(uint16_t LayerIndex, uint32_t Address)
{
  LTDC_LayerCfgTypeDef  layercfg;

  /* Layer Init */
  layercfg.WindowX0 = 0;
  layercfg.WindowX1 = Lcd_Ctx[0].XSize ;
  layercfg.WindowY0 = 0;
  layercfg.WindowY1 = Lcd_Ctx[0].YSize;
  layercfg.PixelFormat = LTDC_PIXEL_FORMAT_ARGB8888;
  layercfg.FBStartAdress = Address;
  layercfg.Alpha = 255;
  layercfg.Alpha0 = 0;
  layercfg.Backcolor.Blue = 0;
  layercfg.Backcolor.Green = 0;
  layercfg.Backcolor.Red = 0;
  layercfg.BlendingFactor1 = LTDC_BLENDING_FACTOR1_PAxCA;
  layercfg.BlendingFactor2 = LTDC_BLENDING_FACTOR2_PAxCA;
  layercfg.ImageWidth = Lcd_Ctx[0].XSize;
  layercfg.ImageHeight = Lcd_Ctx[0].YSize;

  HAL_LTDC_ConfigLayer(&hlcd_ltdc, &layercfg, LayerIndex);
}

/**
  * @brief  DCS or Generic short/long write command
  * @param  ChannelNbr Virtual channel ID
  * @param  Reg Register to be written
  * @param  pData pointer to a buffer of data to be write
  * @param  Size To precise command to be used (short or long)
  * @retval BSP status
  */
static int32_t DSI_IO_Write(uint16_t ChannelNbr, uint16_t Reg, uint8_t *pData, uint16_t Size)
{
  int32_t ret = BSP_ERROR_NONE;

  if(Size <= 1U)
  {
    if(HAL_DSI_ShortWrite(&hlcd_dsi, ChannelNbr, DSI_DCS_SHORT_PKT_WRITE_P1, Reg, (uint32_t)pData[Size]) != HAL_OK)
    {
      ret = BSP_ERROR_BUS_FAILURE;
    }
  }
  else
  {
    if(HAL_DSI_LongWrite(&hlcd_dsi, ChannelNbr, DSI_DCS_LONG_PKT_WRITE, Size, (uint32_t)Reg, pData) != HAL_OK)
    {
      ret = BSP_ERROR_BUS_FAILURE;
    }
  }

  return ret;
}

/**
  * @brief  DCS or Generic read command
  * @param  ChannelNbr Virtual channel ID
  * @param  Reg Register to be read
  * @param  pData pointer to a buffer to store the payload of a read back operation.
  * @param  Size  Data size to be read (in byte).
  * @retval BSP status
  */
static int32_t DSI_IO_Read(uint16_t ChannelNbr, uint16_t Reg, uint8_t *pData, uint16_t Size)
{
  int32_t ret = BSP_ERROR_NONE;

  if(HAL_DSI_Read(&hlcd_dsi, ChannelNbr, pData, Size, DSI_DCS_SHORT_PKT_READ, Reg, pData) != HAL_OK)
  {
    ret = BSP_ERROR_BUS_FAILURE;
  }

  return ret;
}

void LCD_MspInit(void)
{
  /** @brief Enable the LTDC clock */
  __HAL_RCC_LTDC_CLK_ENABLE();

  /** @brief Toggle Sw reset of LTDC IP */
  __HAL_RCC_LTDC_FORCE_RESET();
  __HAL_RCC_LTDC_RELEASE_RESET();

  /** @brief Enable the DMA2D clock */
  __HAL_RCC_DMA2D_CLK_ENABLE();

  /** @brief Toggle Sw reset of DMA2D IP */
  __HAL_RCC_DMA2D_FORCE_RESET();
  __HAL_RCC_DMA2D_RELEASE_RESET();

  /** @brief Enable DSI Host and wrapper clocks */
  __HAL_RCC_DSI_CLK_ENABLE();

  /** @brief Soft Reset the DSI Host and wrapper */
  __HAL_RCC_DSI_FORCE_RESET();
  __HAL_RCC_DSI_RELEASE_RESET();

  /** @brief NVIC configuration for LTDC interrupt that is now enabled */
  HAL_NVIC_SetPriority(LTDC_IRQn, 9, 0xf);
  HAL_NVIC_EnableIRQ(LTDC_IRQn);

  /** @brief NVIC configuration for DMA2D interrupt that is now enabled */
  HAL_NVIC_SetPriority(DMA2D_IRQn, 9, 0xf);
  HAL_NVIC_EnableIRQ(DMA2D_IRQn);

  /** @brief NVIC configuration for DSI interrupt that is now enabled */
  HAL_NVIC_SetPriority(DSI_IRQn, 9, 0xf);
  HAL_NVIC_EnableIRQ(DSI_IRQn);
}

/**
  * @brief  Display Example description.
  * @param  None
  * @retval None
  */
static void LCD_BriefDisplay(void)
{
  UTIL_LCD_SetFont(&Font24);
//  UTIL_LCD_SetTextColor(UTIL_LCD_COLOR_BLUE);
  UTIL_LCD_FillRect(0, 0, 800, 112, UTIL_LCD_COLOR_ST_BLUE);
  UTIL_LCD_FillRect(0, 112, 800, 368, UTIL_LCD_COLOR_WHITE);
  UTIL_LCD_SetTextColor(UTIL_LCD_COLOR_ST_PINK);
  UTIL_LCD_SetBackColor(UTIL_LCD_COLOR_ST_BLUE);
  UTIL_LCD_DisplayStringAtLine(1, (uint8_t *)"GenericDataLogger image injection demo");
  UTIL_LCD_SetFont(&Font16);
  UTIL_LCD_DisplayStringAtLine(4, (uint8_t *)"Below you will find injected images that are displayed on STM32");
//  UTIL_LCD_DisplayStringAtLine(5, (uint8_t *)"for display and for draw     ");
}

/**
  * @brief  Converts a line to an ARGB8888 pixel format.
  * @param  pSrc: Pointer to source buffer
  * @param  pDst: Output color
  * @param  xSize: Buffer width
  * @param  ColorMode: Input color mode
  * @retval None
  */

static void CopyBufferFromRGB888(uint32_t *pSrc, uint32_t *pDst, uint16_t x, uint16_t y, uint16_t xsize, uint16_t ysize, uint8_t rb_swaped)
{
   uint32_t destination = (uint32_t)pDst + (y * 800 + x) * 4;
  uint32_t source      = (uint32_t)pSrc;

  /*##-1- Configure the DMA2D Mode, Color Mode and output offset #############*/
  hdma2d.Init.Mode         = DMA2D_M2M_PFC;
  hdma2d.Init.ColorMode    = DMA2D_OUTPUT_ARGB8888;
  hdma2d.Init.OutputOffset = 800 - xsize;
  hdma2d.Init.AlphaInverted = DMA2D_REGULAR_ALPHA;  /* No Output Alpha Inversion*/
  hdma2d.Init.RedBlueSwap   = DMA2D_RB_REGULAR;     /* No Output Red & Blue swap */

  /*##-2- DMA2D Callbacks Configuration ######################################*/
  hdma2d.XferCpltCallback  = NULL;

  /*##-3- Foreground Configuration ###########################################*/
  hdma2d.LayerCfg[1].AlphaMode = DMA2D_NO_MODIF_ALPHA;
  hdma2d.LayerCfg[1].InputAlpha = 0xFF;
  hdma2d.LayerCfg[1].InputColorMode = DMA2D_INPUT_RGB888; /*DMA2D_INPUT_ARGB8888;*/
  hdma2d.LayerCfg[1].InputOffset = 0;

  if(rb_swaped == 0){
    hdma2d.LayerCfg[1].RedBlueSwap = DMA2D_RB_REGULAR; /* No ForeGround Red/Blue swap */
  } else {
      hdma2d.LayerCfg[1].RedBlueSwap = DMA2D_RB_SWAP; //DMA2D_RB_REGULAR; /* No ForeGround Red/Blue swap */
  }

  hdma2d.LayerCfg[1].AlphaInverted = DMA2D_REGULAR_ALPHA; /* No ForeGround Alpha inversion */

  hdma2d.Instance          = DMA2D;

  /* DMA2D Initialization */
  if(HAL_DMA2D_Init(&hdma2d) == HAL_OK)
  {
    if(HAL_DMA2D_ConfigLayer(&hdma2d, 1) == HAL_OK)
    {
      if (HAL_DMA2D_Start(&hdma2d, source, destination, xsize, ysize) == HAL_OK)
      {
        /* Polling For DMA transfer */
        HAL_DMA2D_PollForTransfer(&hdma2d, 100);
      }
    }
  }
}

/* USER CODE END 4 */

void Error_Handler(void)
{
  __disable_irq();
  while (1)
  {
  }
}

/************************ (C) COPYRIGHT STMicroelectronics *****END OF FILE****/
